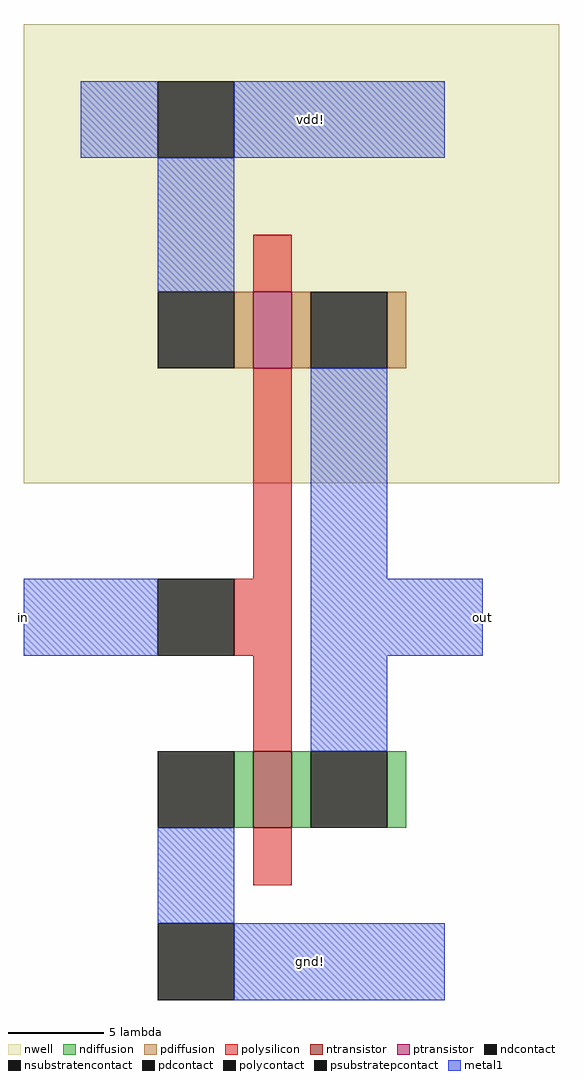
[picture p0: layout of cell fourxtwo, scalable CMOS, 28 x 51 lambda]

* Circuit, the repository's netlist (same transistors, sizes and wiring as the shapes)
* SPICE3 file created from fourxtwo.ext - technology: scmos

.option scale=0.12u

M1000 out in Vdd Vdd PMOS w=4 l=2
+  ad=24p pd=20u as=20p ps=18u
M1001 out in Gnd Gnd NMOS w=4 l=2
+  ad=24p pd=20u as=20p ps=18u

.include tsmc_cmos025

Vs Vdd Gnd 2.5V
Vp in Gnd PULSE(0 2.5 2n 0.1n 0.1n 4n 10n)

.TRAN 1n 60n
.OPTIONS

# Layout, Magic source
magic
tech scmos
<< nwell >>
rect -10 3 18 27
<< ntransistor >>
rect 2 -15 4 -11
<< ptransistor >>
rect 2 9 4 13
<< ndiffusion >>
rect 1 -15 2 -11
rect 4 -15 5 -11
rect 9 -15 10 -11
<< pdiffusion >>
rect 1 9 2 13
rect 4 9 5 13
rect 9 9 10 13
<< ndcontact >>
rect -3 -15 1 -11
rect 5 -15 9 -11
<< pdcontact >>
rect -3 9 1 13
rect 5 9 9 13
<< psubstratepcontact >>
rect -3 -24 1 -20
<< nsubstratencontact >>
rect -3 20 1 24
<< polysilicon >>
rect 2 13 4 16
rect 2 -2 4 9
rect 1 -6 4 -2
rect 2 -11 4 -6
rect 2 -18 4 -15
<< polycontact >>
rect -3 -6 1 -2
<< metal1 >>
rect -7 20 -3 24
rect 1 20 12 24
rect -3 13 1 20
rect 5 -2 9 9
rect -10 -6 -3 -2
rect 5 -6 14 -2
rect 5 -11 9 -6
rect -3 -20 1 -15
rect 1 -24 12 -20
<< labels >>
rlabel metal1 -10 -6 -10 -2 3 in
rlabel metal1 14 -6 14 -2 7 out
rlabel metal1 5 22 5 22 5 vdd!
rlabel metal1 5 -22 5 -22 1 gnd!
<< end >>
